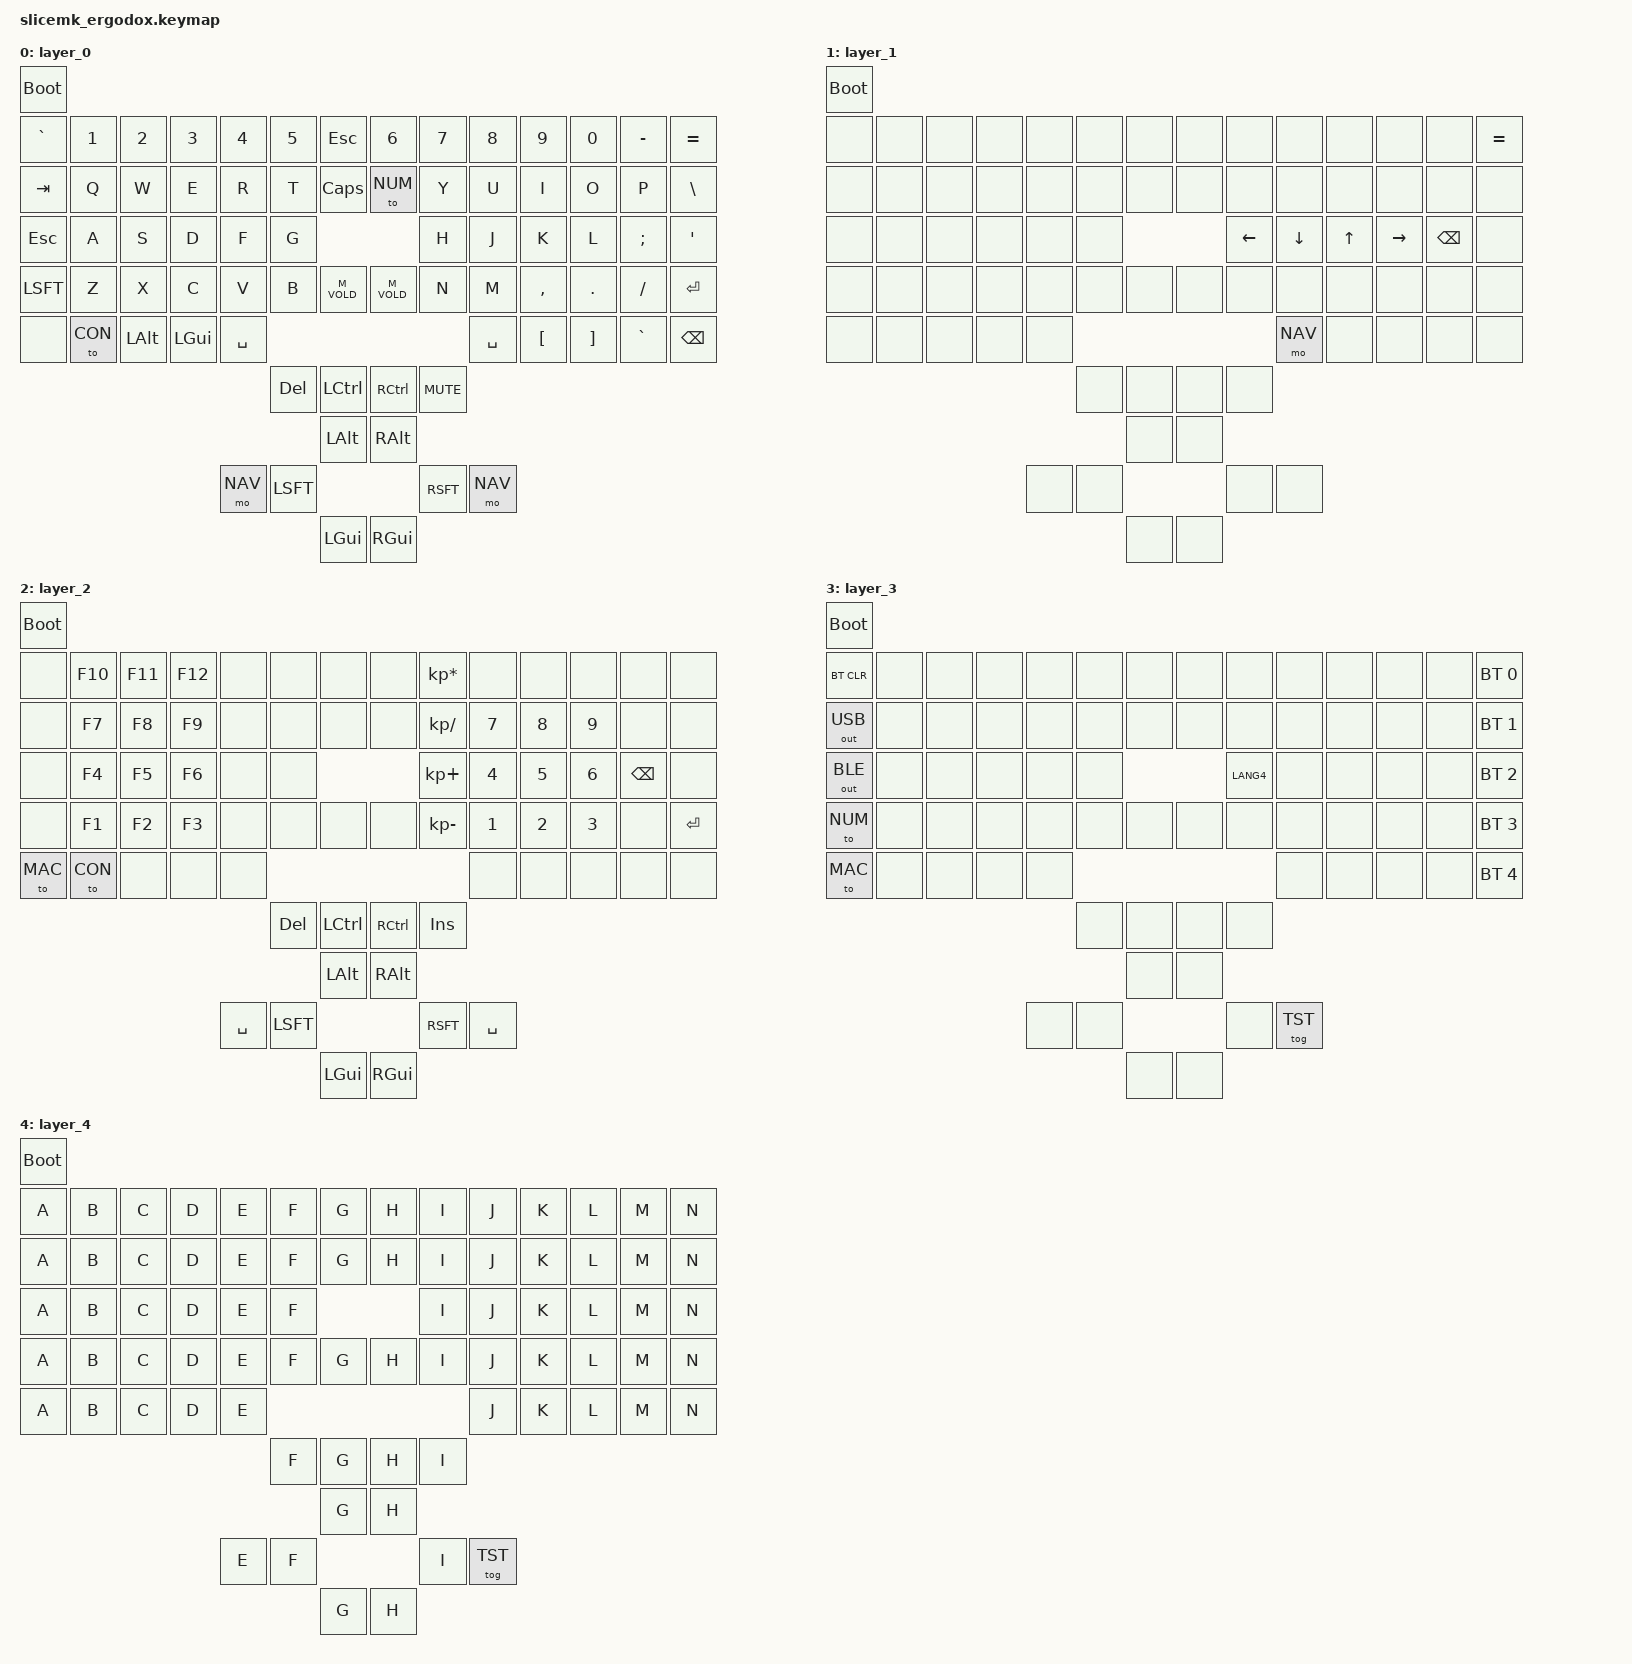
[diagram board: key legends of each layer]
#include <behaviors.dtsi>
#include <dt-bindings/zmk/bt.h>
#include <dt-bindings/zmk/keys.h>
#include <dt-bindings/zmk/outputs.h>

#define MAC 0
#define NAV 1
#define NUM 2
#define CON 3
#define TST 4

/*  Comment line: What is the assignments in the bottow row of the thumb cluster in layer_0?  */

/ {
        keymap {
                compatible = "zmk,keymap";

              
                layer_0 {
                        bindings = <
    &bootloader
    &kp GRAVE  &kp N1     &kp N2     &kp N3     &kp N4     &kp N5     &kp ESC    &kp N6     &kp N7     &kp N8     &kp N9     &kp N0     &kp MINUS  &kp EQUAL
    &kp TAB    &kp Q      &kp W      &kp E      &kp R      &kp T      &kp CLCK   &to NUM    &kp Y      &kp U      &kp I      &kp O      &kp P      &kp BSLH
    &kp ESC    &kp A      &kp S      &kp D      &kp F      &kp G                            &kp H      &kp J      &kp K      &kp L      &kp SEMI   &kp APOS
    &kp LSFT   &kp Z      &kp X      &kp C      &kp V      &kp B      &kp M_VOLD &kp M_VOLD &kp N      &kp M      &kp COMMA  &kp DOT    &kp FSLH   &kp ENTER
    &none      &to CON    &kp LALT   &kp LGUI   &kp SPC                                                &kp SPC    &kp LBKT   &kp RBKT   &kp GRAVE  &kp BSPC                                                 
                                                           &kp DEL    &kp LCTRL  &kp RCTRL  &kp K_MUTE
                                                                      &kp LALT   &kp RALT
                                                &mo NAV    &kp LSFT                         &kp RSFT   &mo NAV
                                                                      &kp LGUI   &kp RGUI
                        >;
                };
                
                 layer_1 {
                        bindings = <
    &bootloader
    &none      &none      &none      &none      &none      &none      &none      &none      &none      &none      &none      &none      &none      &kp EQUAL
    &none      &none      &none      &none      &none      &none      &none      &none      &none      &none      &none      &none      &none      &none
    &none      &none      &none      &none      &none      &none                            &kp LEFT   &kp DOWN   &kp UP     &kp RIGHT  &kp BSPC   &none
    &none      &none      &none      &none      &none      &none      &none      &none      &none      &none      &none      &none      &none      &none
    &none      &none      &none      &none      &none                                                  &mo NAV    &none      &none      &none      &none
                                                           &none      &none      &none      &none
                                                                      &none      &none
                                                &none      &none                            &none      &none
                                                                      &none      &none
                        >;
                };
                
                 layer_2 {
                        bindings = <
    &bootloader
    &none      &kp F10    &kp F11    &kp F12    &none      &none      &none      &none      &kp KP_MULTIPLY &none      &none      &none      &none      &none
    &none      &kp F7     &kp F8     &kp F9     &none      &none      &none      &none      &kp KP_SLASH    &kp N7     &kp N8     &kp N9     &none      &none
    &none      &kp F4     &kp F5     &kp F6     &none      &none                            &kp KP_PLUS     &kp N4     &kp N5     &kp N6     &kp BSPC   &none
    &none      &kp F1     &kp F2     &kp F3     &none      &none      &none      &none      &kp KP_MINUS    &kp N1     &kp N2     &kp N3     &none      &kp ENTER
    &to MAC    &to CON    &none      &none      &none                                                       &none      &none      &none      &none      &none
                                                           &kp DEL    &kp LCTRL  &kp RCTRL  &kp INS
                                                                      &kp LALT   &kp RALT
                                                &kp SPC    &kp LSFT                         &kp RSFT   &kp SPC
                                                                      &kp LGUI   &kp RGUI
                        >;
                };


                 layer_3 {
                        bindings = <
    &bootloader
    &bt BT_CLR        &none      &none      &none      &none      &none      &none      &none      &none      &none      &none      &none      &none      &bt BT_SEL 0
    &out OUT_USB      &none      &none      &none      &none      &none      &none      &none      &none      &none      &none      &none      &none      &bt BT_SEL 1
    &out OUT_BLE      &none      &none      &none      &none      &none                            &kp LANG4  &none      &none      &none      &none      &bt BT_SEL 2
    &to NUM           &none      &none      &none      &none      &none      &none      &none      &none      &none      &none      &none      &none      &bt BT_SEL 3
    &to MAC           &none      &none      &none      &none                                                  &none      &none      &none      &none      &bt BT_SEL 4
                                                                  &none      &none      &none      &none
                                                                             &none      &none
                                                       &none      &none                            &none      &tog TST
                                                                             &none      &none
                        >;
                };

              layer_4 {
                        bindings = <
    &bootloader
    &kp A    &kp B    &kp C    &kp D    &kp E    &kp F    &kp G    &kp H    &kp I    &kp J    &kp K    &kp L    &kp M    &kp N
    &kp A    &kp B    &kp C    &kp D    &kp E    &kp F    &kp G    &kp H    &kp I    &kp J    &kp K    &kp L    &kp M    &kp N
    &kp A    &kp B    &kp C    &kp D    &kp E    &kp F                      &kp I    &kp J    &kp K    &kp L    &kp M    &kp N
    &kp A    &kp B    &kp C    &kp D    &kp E    &kp F    &kp G    &kp H    &kp I    &kp J    &kp K    &kp L    &kp M    &kp N
    &kp A    &kp B    &kp C    &kp D    &kp E                                        &kp J    &kp K    &kp L    &kp M    &kp N
                                                 &kp F    &kp G    &kp H    &kp I 
                                                          &kp G    &kp H 
                                        &kp E    &kp F                      &kp I    &tog TST 
                                                          &kp G    &kp H 
                        >;
                };
          

        };
};
